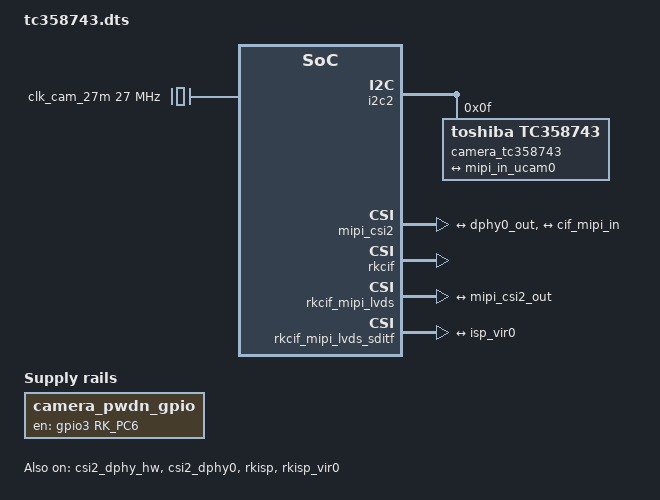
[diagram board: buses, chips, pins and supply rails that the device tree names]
/dts-v1/;
/plugin/;

#include <dt-bindings/gpio/gpio.h>
#include <dt-bindings/pinctrl/rockchip.h>


/ {

	fragment@0 {
		target-path = "/";

		__overlay__ {
			clk_cam_27m: external-camera-clock-27m {
				status = "okay";
				compatible = "fixed-clock";
				clock-frequency = <27000000>;
				clock-output-names = "clk_cam_27m";
				#clock-cells = <0>;
			};

			camera_pwdn_gpio: camera-pwdn-gpio {
				status = "okay";
				compatible = "regulator-fixed";
				regulator-name = "camera_pwdn_gpio";
				regulator-always-on;
				regulator-boot-on;
				enable-active-high;
				gpio = <&gpio3 RK_PC6 GPIO_ACTIVE_HIGH>;
			};
		};
	};

	fragment@1 {
		target = <&i2c2>;

		__overlay__ {
			status = "okay";
			pinctrl-names = "default";
			pinctrl-0 = <&i2c2m1_xfer>;
			#address-cells = <1>;
			#size-cells = <0>;

			camera_tc358743: tc358743@f {
				status = "okay";
				compatible = "toshiba,tc358743";
				reg = <0x0f>;
				clocks = <&clk_cam_27m>;
				clock-names = "refclk";
				rockchip,camera-module-index = <0>;
				rockchip,camera-module-facing = "back";
				rockchip,camera-module-name = "tc358743";
				rockchip,camera-module-lens-name = "default";

				port {
					ucam_out0: endpoint {
						remote-endpoint = <&mipi_in_ucam0>;
						clock-lanes = <0>;
						clock-noncontinuous;
						link-frequencies = /bits/ 64 <297000000>;
						data-lanes = <1 2 3 4>;
					};
				};
			};
		};
	};

	fragment@2 {
		target = <&csi2_dphy_hw>;

		__overlay__ {
			status = "okay";
		};
	};

	fragment@3 {
		target = <&csi2_dphy0>;

		__overlay__ {
			status = "okay";

			ports {
				#address-cells = <1>;
				#size-cells = <0>;

				port@0 {
					reg = <0>;
					#address-cells = <1>;
					#size-cells = <0>;

					mipi_in_ucam0: endpoint@1 {
						reg = <1>;
						remote-endpoint = <&ucam_out0>;
						data-lanes = <1 2 3 4>;
					};
				};

				port@1 {
					reg = <1>;
					#address-cells = <1>;
					#size-cells = <0>;

					dphy0_out: endpoint@1 {
						reg = <1>;
						remote-endpoint = <&mipi_csi2_in>;
					};
				};
			};
		};
	};


	fragment@4 {
		target = <&mipi_csi2>;

		__overlay__ {
			status = "okay";

			ports {
				#address-cells = <1>;
				#size-cells = <0>;

				port@0 {
					reg = <0>;
					#address-cells = <1>;
					#size-cells = <0>;

					mipi_csi2_in: endpoint@1 {
						reg = <1>;
						remote-endpoint = <&dphy0_out>;
					};
				};

				port@1 {
					reg = <1>;
					#address-cells = <1>;
					#size-cells = <0>;

					mipi_csi2_out: endpoint@0 {
						reg = <0>;
						remote-endpoint = <&cif_mipi_in>;
					};
				};
			};
		};
	};

	fragment@5 {
		target = <&rkcif>;

		__overlay__ {
			status = "okay";
		};
	};

	fragment@6 {
		target = <&rkcif_mipi_lvds>;

		__overlay__ {
			status = "okay";

			port {
				cif_mipi_in: endpoint {
					remote-endpoint = <&mipi_csi2_out>;
				};
			};
		};
	};

	fragment@7 {
		target = <&rkcif_mipi_lvds_sditf>;

		__overlay__ {
			status = "okay";

			port {
				mipi_lvds_sditf: endpoint {
					remote-endpoint = <&isp_vir0>;
				};
			};
		};
	};

	fragment@8 {
		target = <&rkcif_mmu>;

		__overlay__ {
			status = "okay";
		};
	};

	fragment@9 {
		target = <&rkisp_mmu>;

		__overlay__ {
			status = "okay";
		};
	};

	fragment@10 {
		target = <&rkisp>;

		__overlay__ {
			status = "okay";
		};
	};

	fragment@11 {
		target = <&rkisp_vir0>;

		__overlay__ {
			status = "okay";

			port {
				#address-cells = <1>;
				#size-cells = <0>;

				isp_vir0: endpoint@0 {
					reg = <0>;
					remote-endpoint = <&mipi_lvds_sditf>;
				};
			};
		};
	};

};

